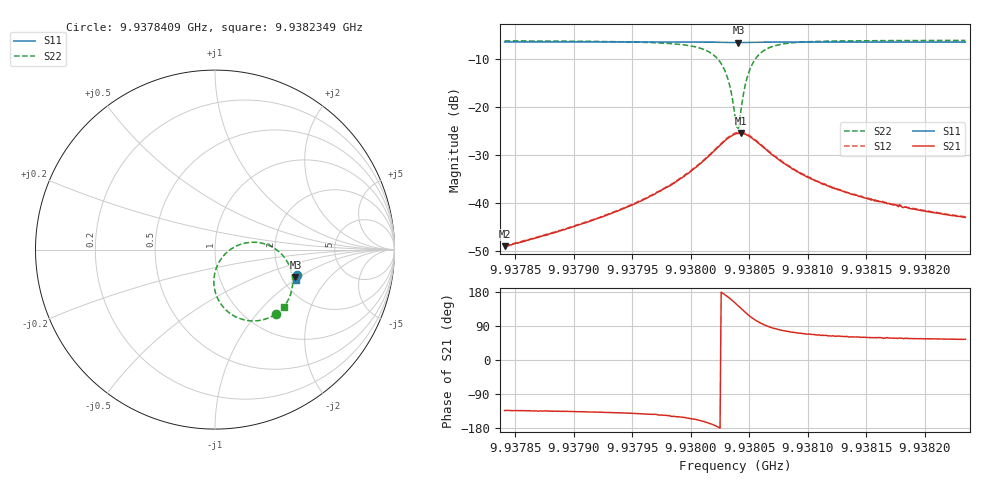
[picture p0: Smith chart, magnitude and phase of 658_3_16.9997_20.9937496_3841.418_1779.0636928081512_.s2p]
#  HZ  S  RI  R  50.00
! Rohde & Schwarz Vector Network Analyzer
! Rohde-Schwarz,ZNB20-2Port,1311601062101988,3.16
! Created: UTC 3/20/2024, 11:21:39 PM
! freq[Hz]  re:S11  im:S11  re:S21  im:S21  re:S12  im:S12  re:S22  im:S22
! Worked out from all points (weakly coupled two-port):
!   401 points, 9.9378409 GHz to 9.9382349 GHz, reference 50 ohm
!   highest |S21| = -25.37 dB at 9.9380428 GHz (marker M1); lowest = -48.9 dB at 9.9378409 GHz (marker M2)
!   lowest |S11| = -6.5 dB at 9.9380409 GHz (marker M3), VSWR 2.80, Z = 118 - j46.8 ohm
!   |S11| at or under -10 dB: nowhere
!   |S22| runs from -24.6 to -6.1 dB; largest |S21 - S12| = 0.0016
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9.93784093e9  0.4593 -0.1437  -0.00245 -0.0026  -0.00248 -0.00261  0.3376 -0.3589
9.93790692e9  0.4574 -0.1482  -0.00445 -0.00419  -0.00455 -0.00419  0.3163 -0.372
9.93794631e9  0.4563 -0.1512  -0.00708 -0.00588  -0.00725 -0.00585  0.2905 -0.3835
9.9379729e9  0.455 -0.1531  -0.0109 -0.00759  -0.0109 -0.00756  0.2574 -0.3932
9.93800442e9  0.4529 -0.1558  -0.0217 -0.00934  -0.0222 -0.00901  0.1651 -0.3925
9.93802116e9  0.4508 -0.1565  -0.0358 -0.00416  -0.0366 -0.00376  0.0578 -0.3333
9.93802707e9  0.4495 -0.1561  -0.0422 0.00242  -0.0431 0.0029  0.015 -0.2722
9.93803101e9  0.449 -0.1557  -0.0459 0.00922  -0.0466 0.0102  -0.00378 -0.2117
9.93803396e9  0.4487 -0.1553  -0.047 0.0159  -0.0478 0.0168  -0.00514 -0.157
9.9380379e9  0.4484 -0.1543  -0.0459 0.0256  -0.0467 0.027  0.018 -0.0784
9.93803987e9  0.4484 -0.1537  -0.0438 0.0306  -0.0443 0.0321  0.0417 -0.0416
9.93804086e9  0.4484 -0.1535  -0.0424 0.0328  -0.0429 0.0343  0.0557 -0.0252
9.93804283e9  0.4489 -0.1531  -0.0391 0.0371  -0.0392 0.0386  0.09 0.00338
9.93804578e9  0.4494 -0.1527  -0.0325 0.0416  -0.0325 0.0432  0.1486 0.0314
9.93804972e9  0.4504 -0.1523  -0.0233 0.0445  -0.0228 0.046  0.2283 0.0407
9.93805366e9  0.4512 -0.1523  -0.0147 0.0442  -0.0142 0.0453  0.2962 0.0248
9.93805859e9  0.4522 -0.1529  -0.00665 0.0412  -0.0059 0.0422  0.3567 -0.0121
9.93807434e9  0.4533 -0.155  0.0046 0.0287  0.00541 0.029  0.4272 -0.1297
9.93810389e9  0.4531 -0.1584  0.00684 0.0165  0.00721 0.0165  0.426 -0.233
9.93813639e9  0.4523 -0.161  0.006 0.011  0.00635 0.011  0.4101 -0.2761
9.93816987e9  0.4513 -0.1635  0.00521 0.00836  0.00551 0.00833  0.3976 -0.2979
9.93823487e9  0.4494 -0.1679  0.00411 0.00581  0.00432 0.0058  0.382 -0.3195
